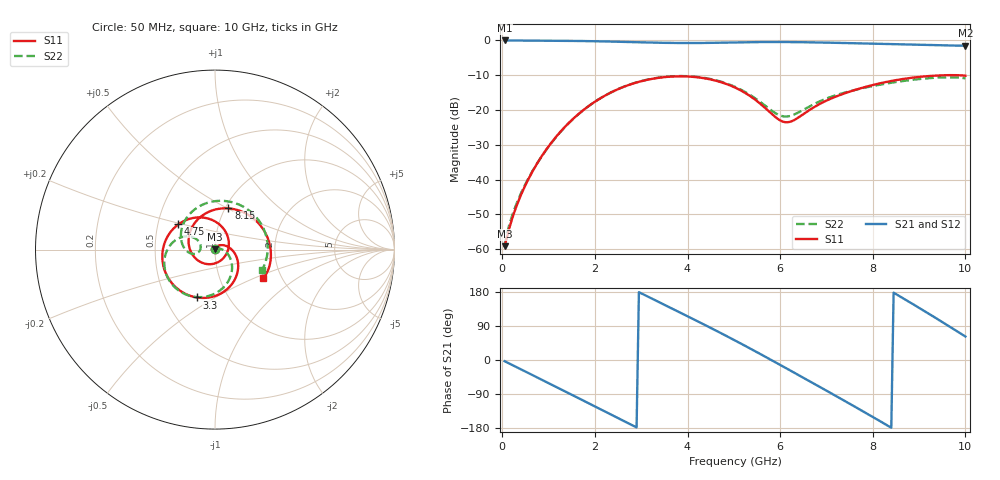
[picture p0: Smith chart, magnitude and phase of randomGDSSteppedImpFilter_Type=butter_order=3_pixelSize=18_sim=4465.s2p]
! freq	dB(S11)	phase(S11)	dB(S12)	phase(S12)
!  dB(S21)	phase(S21)	dB(S22)	phase(S22)
!S-par simulation data
#  GHz  S  DB  R 50
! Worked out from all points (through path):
!   200 points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, 50 MHz to 10 GHz, reference 50 ohm
!   highest |S21| = 0.00 dB at 50 MHz (marker M1); lowest = -1.5 dB at 10 GHz (marker M2)
!   group delay of S21, straight-line fit = 181 ps
!   lowest |S11| = -59.2 dB at 50 MHz (marker M3), VSWR 1.00, Z = 50.1 + j0.0745 ohm
!   |S11| at or under -10 dB: start of sweep to 9.574 GHz; 9.824 GHz to end of sweep
!   |S22| runs from -59.0 to -10.2 dB; largest |S21 - S12| = 0
!   S11 on the Smith chart (normalised r, x): 50 MHz: 1.00, +0.00; 3.3 GHz: 0.72, -0.42; 4.75 GHz: 0.64, +0.19; 8.15 GHz: 1.04, +0.51; 10 GHz: 1.60, -0.57
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0.05  -59.18 42.6  -0.00 -3.1  -0.00 -3.1  -58.97 53.1
0.3  -47.89 75.8  -0.03 -18.4  -0.03 -18.4  -47.20 47.5
0.7  -36.55 66.9  -0.06 -42.7  -0.06 -42.7  -36.48 25.4
1.25  -26.34 31.5  -0.10 -76.4  -0.10 -76.4  -26.42 -3.9
1.75  -20.03 -3.9  -0.17 -107.1  -0.17 -107.1  -20.05 -30.3
2.55  -13.73 -59.6  -0.39 -156.5  -0.39 -156.5  -13.71 -73.5
3.3  -10.90 -110.7  -0.64 157.8  -0.64 157.8  -10.85 -113.6
3.4  -10.70 -117.5  -0.67 151.7  -0.67 151.7  -10.65 -118.8
4.1  -10.45 -165.9  -0.75 109.3  -0.75 109.3  -10.36 -154.4
4.75  -12.12 145.3  -0.64 69.1  -0.64 69.1  -11.96 174.9
5.05  -13.71 119.9  -0.57 50.0  -0.57 50.0  -13.49 162.7
5.45  -16.93 80.1  -0.48 23.9  -0.48 23.9  -16.55 151.5
5.85  -21.51 23.2  -0.45 -2.8  -0.45 -2.8  -20.50 155.9
6.2  -23.45 -52.6  -0.46 -26.4  -0.46 -26.4  -21.77 178.7
6.7  -19.45 -139.8  -0.55 -60.4  -0.55 -60.4  -18.51 -168.2
7.4  -15.18 140.4  -0.74 -108.4  -0.74 -108.4  -14.98 173.8
8.15  -12.34 72.0  -0.97 -160.9  -0.97 -160.9  -12.73 137.7
8.35  -11.78 56.6  -1.04 -175.2  -1.04 -175.2  -12.27 125.1
8.8  -10.81 26.3  -1.19 152.3  -1.19 152.3  -11.41 91.9
9.25  -10.21 1.5  -1.33 119.1  -1.33 119.1  -10.81 52.2
9.65  -9.98 -17.0  -1.45 88.8  -1.45 88.8  -10.60 12.9
10  -10.14 -31.0  -1.53 61.9  -1.53 61.9  -10.90 -23.9
